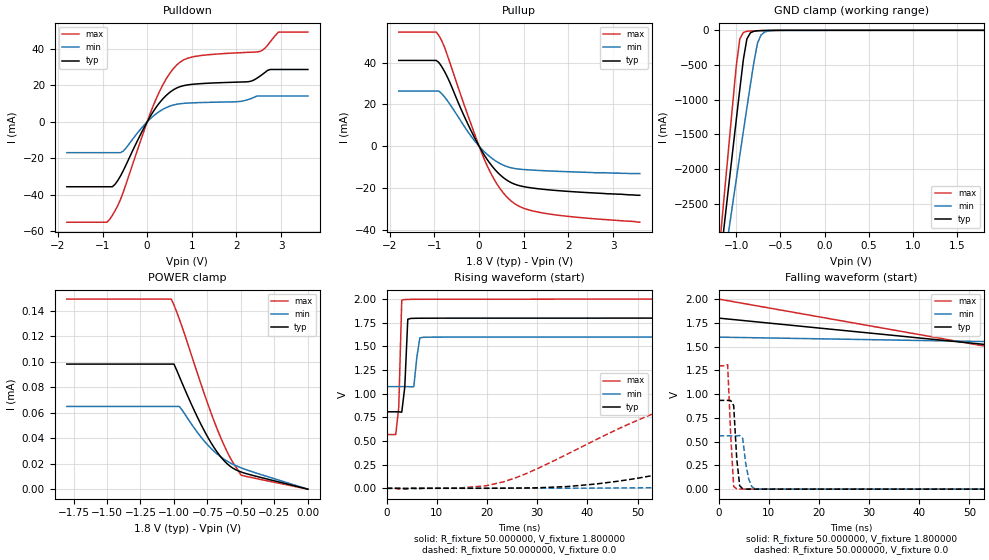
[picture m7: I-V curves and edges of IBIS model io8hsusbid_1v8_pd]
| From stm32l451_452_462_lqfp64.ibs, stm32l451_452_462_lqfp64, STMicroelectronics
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|   Model io8hsusbid_1v8_pd
[Model]  io8hsusbid_1v8_pd
Model_type I/O
Polarity   Non-Inverting
Enable   Active-Low
Vinl =   0.540000V
Vinh =   1.260000V
Vmeas =  0.900000V
Cref =   100.000000nF
Rref =   1.000000k
Vref =   1.800000V
C_comp   2.022300pF   2.021100pF   2.049600pF
[Temperature Range]   25.000000   0.125000k   -40.000000
[Pullup Reference]   1.800000V   1.600000V   2.000000V
[Pulldown Reference]   0.0V   0.0V   0.0V
[POWER Clamp Reference]   1.800000V   1.600000V   2.000000V
[GND Clamp Reference]   0.0V   0.0V   0.0V
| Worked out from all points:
|   slope of the pulldown table from 0 to 0.27 V, typ, clamps not added: 26.4 ohm
|   slope of the pullup table from 0 to 0.27 V, typ, clamps not added: 30.1 ohm
|   GND clamp passes 1 mA (typ) near -0.60 V on its own axis
|   rising waveform, R_fixture 50.000000, V_fixture 1.800000: 20-80 % time 587ps typ, 720ps min, 455ps max; typ from 0.808 V to 1.8 V
|   rising waveform, R_fixture 50.000000, V_fixture 0.0: 20-80 % time 65ns typ, 101ns min, 35.5ns max; typ from 0 V to 0.934 V
|   falling waveform, R_fixture 50.000000, V_fixture 1.800000: 20-80 % time 119ns typ, 161ns min, 92ns max; typ from 1.8 V to 0.808 V
|   falling waveform, R_fixture 50.000000, V_fixture 0.0: 20-80 % time 745ps typ, 987ps min, 726ps max; typ from 0.934 V to 0 V
[Pulldown]
|Voltage   I(typ)   I(min)   I(max)
-1.8V     -35.64mA   -16.93mA   -55.1mA
-840mV    -35.64mA   -16.93mA   -53.52mA
-720mV    -34.31mA   -16.93mA   -48.86mA
-540mV    -27.04mA   -16.13mA   -38.89mA
240mV     9.303mA    5.14mA     14.78mA
480mV     15.67mA    8.374mA    25.64mA
720mV     19.18mA    9.883mA    32.46mA
1.14V     20.87mA    10.54mA    36.19mA
2.28V     22.08mA    12.36mA    38.18mA
2.52V     24.96mA    14.19mA    38.63mA
2.94V     28.75mA    14.19mA    49.28mA
3.6V      28.75mA    14.19mA    49.28mA
[Pullup]
|Voltage   I(typ)   I(min)   I(max)
-1.8V     41.08mA    26.4mA     54.65mA
-960mV    41.08mA    26.4mA     54.65mA
-900mV    40.04mA    26.4mA     52.99mA
-780mV    36.03mA    23.75mA    47.71mA
-240mV    10.08mA    6.586mA    14.1mA
120mV     -4.379mA   -2.702mA   -6.45mA
240mV     -8.143mA   -5.004mA   -12mA
420mV     -12.68mA   -7.723mA   -18.77mA
720mV     -17.48mA   -10.36mA   -26.28mA
1.02V     -19.45mA   -11.2mA    -29.88mA
1.5V      -20.78mA   -11.79mA   -32.25mA
3.6V      -23.5mA    -13.1mA    -36.4mA
[GND_clamp]
|Voltage   I(typ)   I(min)   I(max)
-1.8V     -9.895A    -9.296A    -9.457A
-1.2V     -3.533A    -3.902A    -3.274A
-1.16V    -3.082A    -3.55A     -2.716A
-1.12V    -2.631A    -3.198A    -2.159A
-1.08V    -2.182A    -2.848A    -1.604A
-1V       -1.289A    -2.15A     -512mA
-960mV    -849.4mA   -1.803A    -123.8mA
-920mV    -422.4mA   -1.459A    -30.8mA
-880mV    -123.7mA   -1.118A    -13.64mA
-760mV    -6.331mA   -185.1mA   -5.703mA
-680mV    -2.582mA   -25.44mA   -2.917mA
1.8V      47.51uA    51.77uA    39.14uA
[POWER_clamp]
|Voltage   I(typ)   I(min)   I(max)
-1.8V     98.28uA    64.99uA    149.4uA
-1.02V    98.28uA    64.99uA    149.4uA
-1V       98.28uA    64.99uA    144.6uA
-960mV    88.57uA    64.99uA    133.7uA
-820mV    55.53uA    43.9uA     89.47uA
-760mV    43.23uA    36.15uA    70.81uA
-700mV    32.6uA     29.7uA     53.4uA
-640mV    24.05uA    24.57uA    37.82uA
-600mV    19.7uA     21.84uA    28.76uA
-560mV    16.51uA    19.57uA    21uA
-500mV    13.54uA    16.82uA    11.13uA
0V        0A         0A         0A
[Ramp]
| variable   typ   min   max
dV/dt_r  0.56023/65.16690n   0.33674/0.11419u   0.77832/35.46542n
dV/dt_f  0.59462/66.69208n   0.31476/0.11620u   0.85886/35.02316n
R_load = 50.000000
[Rising Waveform]
R_fixture= 50.000000
V_fixture= 1.800000
V_fixture_min= 1.600000
V_fixture_max= 2.000000
|time   V(typ)   V(min)   V(max)
0s        808.4mV    1.075V     568.2mV
1.802ns   808.4mV    1.075V     567.7mV
2.402ns   808.4mV    1.075V     854.7mV
3.003ns   804.6mV    1.075V     1.988V
3.604ns   1.069V     1.075V     1.994V
4.204ns   1.786V     1.075V     1.996V
4.805ns   1.795V     1.072V     1.996V
6.607ns   1.797V     1.589V     1.997V
7.808ns   1.797V     1.597V     1.998V
299.1ns   1.799V     1.599V     2V
[Rising Waveform]
R_fixture= 50.000000
V_fixture= 0.0
V_fixture_min= 0.0
V_fixture_max= 0.0
|time   V(typ)   V(min)   V(max)
0s        166.2uV    292.4uV    105uV
23.42ns   1.801mV    680.9uV    70.23mV
41.44ns   44.38mV    2.261mV    506.4mV
60.06ns   207mV      11.95mV    922.2mV
72.67ns   343.9mV    28.64mV    1.097V
88.89ns   509.5mV    67.29mV    1.211V
119.5ns   730.8mV    178.9mV    1.275V
158ns     864mV      320.9mV    1.293V
219.2ns   922.8mV    480.3mV    1.297V
299.1ns   933.9mV    561.3mV    1.297V
[Falling Waveform]
R_fixture= 50.000000
V_fixture= 1.800000
V_fixture_min= 1.600000
V_fixture_max= 2.000000
|time   V(typ)   V(min)   V(max)
0s        1.799V     1.599V     2V
150.2ns   1.015V     1.468V     597.9mV
300.3ns   821.1mV    1.137V     568.9mV
450.5ns   809.6mV    1.087V     568.2mV
600.6ns   808.4mV    1.077V     568.2mV
900.9ns   808.3mV    1.075V     568.2mV
14.86us   808.4mV    1.075V     568.2mV
[Falling Waveform]
R_fixture= 50.000000
V_fixture= 0.0
V_fixture_min= 0.0
V_fixture_max= 0.0
|time   V(typ)   V(min)   V(max)
0s        933.9mV    561.3mV    1.297V
1.802ns   933.9mV    561.3mV    1.309V
2.402ns   933.1mV    561.3mV    579.6mV
3.003ns   880mV      561.3mV    28.79mV
3.604ns   326.5mV    560.8mV    3.379mV
4.204ns   35.9mV     564.3mV    1.296mV
4.805ns   4.242mV    533.4mV    857.6uV
6.006ns   743.4uV    106.4mV    702.1uV
7.808ns   510.7uV    1.84mV     662.1uV
299.1ns   166.2uV    292.4uV    105uV
